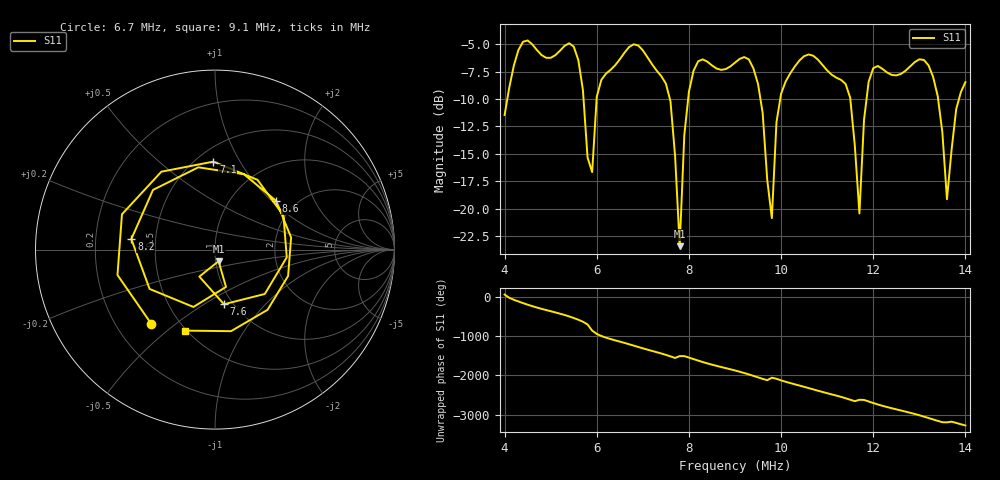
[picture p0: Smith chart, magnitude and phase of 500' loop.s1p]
# HZ S RI R 50
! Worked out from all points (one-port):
!   101 points, 4 MHz to 14 MHz, reference 50 ohm
!   lowest |S11| = -23.4 dB at 7.8 MHz (marker M1), VSWR 1.14, Z = 51.6 - j6.69 ohm
!   |S11| at or under -10 dB: 7.587 MHz to 7.983 MHz (396.4 kHz wide, 5.09 % of centre); 9.552 MHz to 9.982 MHz (429.6 kHz wide, 4.4 % of centre); 13.41 MHz to 13.86 MHz (452.8 kHz wide, 3.32 % of centre)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
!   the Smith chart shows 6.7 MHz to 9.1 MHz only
!   S11 on the Smith chart (normalised r, x): 6.7 MHz: 0.35, -0.41; 7.1 MHz: 0.60, +0.78; 7.6 MHz: 0.91, -0.61; 8.2 MHz: 0.36, +0.05; 8.6 MHz: 1.60, +1.07; 9.1 MHz: 0.49, -0.58
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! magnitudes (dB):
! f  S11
! 4 MHz  -11.5
! 4.4 MHz  -4.8
! 5.3 MHz  -5.2
! 5.6 MHz  -6.5
! 5.9 MHz  -16.7
! 6 MHz  -9.8
! 6.5 MHz  -6.4
! 6.7 MHz  -5.3
! 7.1 MHz  -6.2
! 7.6 MHz  -10.2
! 7.8 MHz  -23.4
! 7.9 MHz  -13.3
! 8.2 MHz  -6.6
! 8.6 MHz  -7.2
! 9 MHz  -6.7
! 9.1 MHz  -6.3
! 9.5 MHz  -8.6
! 9.8 MHz  -20.8
! 9.9 MHz  -12.1
! 10.3 MHz  -7.0
! 11.5 MHz  -9.9
! 11.7 MHz  -20.4
! 11.8 MHz  -11.9
! 12 MHz  -7.2
! 12.8 MHz  -7.0
! 13.3 MHz  -8.0
! 13.6 MHz  -19.1
! 14 MHz  -8.5
